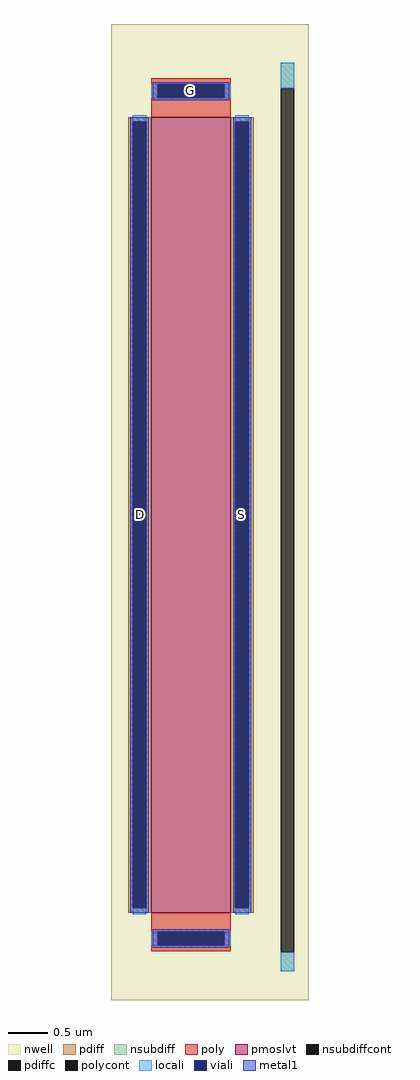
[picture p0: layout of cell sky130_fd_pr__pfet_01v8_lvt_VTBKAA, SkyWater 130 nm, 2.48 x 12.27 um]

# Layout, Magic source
magic
tech sky130A
<< nwell >>
rect -100 -610 148 617
<< pmoslvt >>
rect -50 -500 50 500
<< pdiff >>
rect -79 494 -50 500
rect -79 -494 -73 494
rect -56 -494 -50 494
rect -79 -500 -50 -494
rect 50 494 79 500
rect 50 -494 56 494
rect 73 -494 79 494
rect 50 -500 79 -494
<< pdiffc >>
rect -73 -494 -56 494
rect 56 -494 73 494
<< nsubdiff >>
rect 113 536 130 568
rect 113 -574 130 -550
<< nsubdiffcont >>
rect 113 -550 130 536
<< poly >>
rect -50 541 50 549
rect -50 524 -42 541
rect 42 524 50 541
rect -50 500 50 524
rect -50 -524 50 -500
rect -50 -541 -42 -524
rect 42 -541 50 -524
rect -50 -549 50 -541
<< polycont >>
rect -42 524 42 541
rect -42 -541 42 -524
<< locali >>
rect -50 524 -42 541
rect 42 524 50 541
rect 113 536 130 568
rect -73 494 -56 502
rect -73 -502 -56 -494
rect 56 494 73 502
rect 56 -502 73 -494
rect -50 -541 -42 -524
rect 42 -541 50 -524
rect 113 -574 130 -550
<< viali >>
rect -42 524 42 541
rect -73 -494 -56 494
rect 56 -494 73 494
rect -42 -541 42 -524
<< metal1 >>
rect -48 541 48 544
rect -48 524 -42 541
rect 42 524 48 541
rect -48 521 48 524
rect -76 494 -53 500
rect -76 -494 -73 494
rect -56 -494 -53 494
rect -76 -500 -53 -494
rect 53 494 76 500
rect 53 -494 56 494
rect 73 -494 76 494
rect 53 -500 76 -494
rect -48 -524 48 -521
rect -48 -541 -42 -524
rect 42 -541 48 -524
rect -48 -544 48 -541
<< labels >>
rlabel pdiffc -64 0 -64 0 0 D
port 2 nsew
rlabel pdiffc 64 0 64 0 0 S
port 3 nsew
rlabel polycont 0 533 0 533 0 G
port 4 nsew
<< properties >>
string FIXED_BBOX -121 -583 121 583
string gencell sky130_fd_pr__pfet_01v8_lvt
string library sky130
string parameters w 10.0 l 1.0 m 1 nf 1 diffcov 100 polycov 100 guard 1 glc 1 grc 1 gtc 1 gbc 1 tbcov 100 rlcov 100 topc 1 botc 1 poverlap 0 doverlap 1 lmin 0.35 wmin 0.42 class mosfet compatible {sky130_fd_pr__pfet_01v8  sky130_fd_pr__pfet_01v8_lvt sky130_fd_pr__pfet_01v8_hvt  sky130_fd_pr__pfet_g5v0d10v5} full_metal 1 conn_gates 0 viasrc 100 viadrn 100 viagate 100 viagb 0 viagr 0 viagl 0 viagt 0 doports 1 ad {int((nf+1)/2) * W/nf * 0.29} as {int((nf+2)/2) * W/nf * 0.29} pd {2*int((nf+1)/2) * (W/nf + 0.29)} ps {2*int((nf+2)/2) * (W/nf + 0.29)} nrd {0.29 / W} nrs {0.29 / W} sa 0 sb 0 sd 0 mult 1
<< end >>
